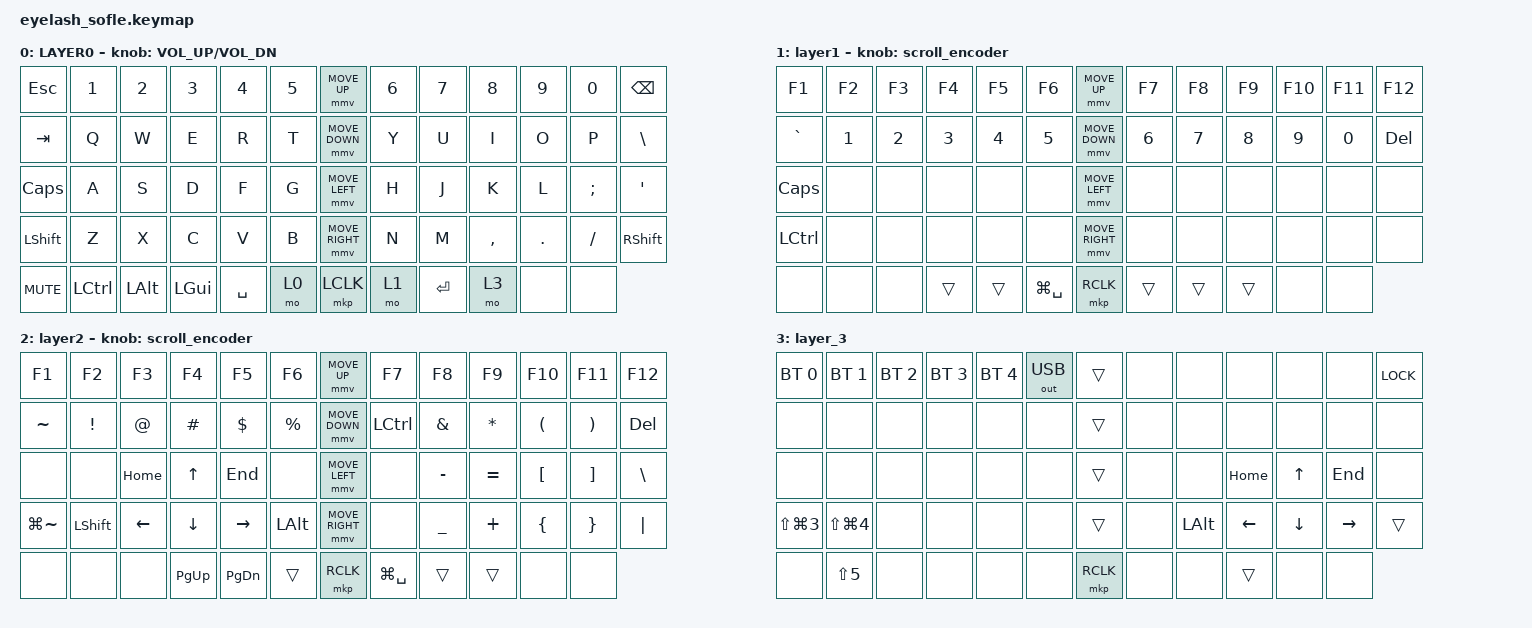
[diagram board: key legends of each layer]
#define ZMK_POINTING_DEFAULT_MOVE_VAL 1200  // 600
#define ZMK_POINTING_DEFAULT_SCRL_VAL 35    // 10

#include <input/processors.dtsi>
#include <zephyr/dt-bindings/input/input-event-codes.h>
#include <behaviors.dtsi>
#include <dt-bindings/zmk/bt.h>
#include <dt-bindings/zmk/keys.h>
#include <dt-bindings/zmk/outputs.h>
#include <dt-bindings/zmk/pointing.h>

/ {
    zip_scroll_scaler: zip_scroll_scaler {
        compatible = "zmk,input-processor-scaler";
        #input-processor-cells = <2>;
        type = <INPUT_EV_REL>;
        codes = <INPUT_REL_WHEEL INPUT_REL_HWHEEL>;
        track-remainders;
    };
};

&mmv_input_listener { input-processors = <&zip_xy_scaler 2 1>; };

&msc_input_listener { input-processors = <&zip_scroll_scaler 2 1>; };

&msc {
    acceleration-exponent = <0>;      // 0
    time-to-max-speed-ms = <0>;       // 300
    delay-ms = <0>;                   // 0
};

&mmv {
    time-to-max-speed-ms = <400>;
    acceleration-exponent = <1>;
};

/ {
    scroll_encoder: scroll_encoder {
        compatible = "zmk,behavior-sensor-rotate";
        #sensor-binding-cells = <0>;
        bindings = <&msc SCRL_DOWN>, <&msc SCRL_UP>;

        tap-ms = <30>;
    };

    behaviors {
    };

    keymap {
        compatible = "zmk,keymap";

        layer0 {
            bindings = <
&kp ESC     &kp N1     &kp N2        &kp N3        &kp N4     &kp N5    &mmv MOVE_UP     &kp N6  &kp N7     &kp N8     &kp N9   &kp N0    &kp BACKSPACE
&kp TAB     &kp Q      &kp W         &kp E         &kp R      &kp T     &mmv MOVE_DOWN   &kp Y   &kp U      &kp I      &kp O    &kp P     &kp BACKSLASH
&kp CAPS    &kp A      &kp S         &kp D         &kp F      &kp G     &mmv MOVE_LEFT   &kp H   &kp J      &kp K      &kp L    &kp SEMI  &kp APOS
&kp LSHFT   &kp Z      &kp X         &kp C         &kp V      &kp B     &mmv MOVE_RIGHT  &kp N   &kp M      &kp COMMA  &kp DOT  &kp FSLH  &kp RIGHT_SHIFT
&kp C_MUTE  &kp LCTRL  &kp LEFT_ALT  &kp LEFT_GUI  &kp SPACE  &mo 0     &mkp LCLK        &mo 1   &kp ENTER  &mo 3      &none    &none
            >;

            sensor-bindings = <&inc_dec_kp C_VOLUME_UP C_VOL_DN>;
            display-name = "LAYER0";
        };

        layer_1 {
            bindings = <
&kp F1            &kp F2        &kp F3        &kp F4        &kp F5        &kp F6           &mmv MOVE_UP     &kp F7        &kp F8  &kp F9  &kp F10  &kp F11  &kp F12
&kp GRAVE         &kp NUMBER_1  &kp NUMBER_2  &kp NUMBER_3  &kp NUMBER_4  &kp N5           &mmv MOVE_DOWN   &kp NUMBER_6  &kp N7  &kp N8  &kp N9   &kp N0   &kp DELETE
&kp CAPSLOCK      &none         &none         &none         &none         &none            &mmv MOVE_LEFT   &none         &none   &none   &none    &none    &none
&kp LEFT_CONTROL  &none         &none         &none         &none         &none            &mmv MOVE_RIGHT  &none         &none   &none   &none    &none    &none
&none             &none         &none         &trans        &trans        &kp LG(SPACE)    &mkp RCLK        &trans        &trans  &trans  &none    &none
            >;

            display-name = "layer1";
            sensor-bindings = <&scroll_encoder>;
        };

        layer_2 {
            display-name = "layer2";
            bindings = <
&kp F1         &kp F2           &kp F3       &kp F4     &kp F5      &kp F6          &mmv MOVE_UP     &kp F7         &kp F8          &kp F9        &kp F10               &kp F11                &kp F12
&kp TILDE      &kp EXCLAMATION  &kp AT_SIGN  &kp HASH   &kp DOLLAR  &kp PERCENT     &mmv MOVE_DOWN   &kp LCTRL      &kp AMPERSAND   &kp ASTERISK  &kp LEFT_PARENTHESIS  &kp RIGHT_PARENTHESIS  &kp DELETE
&none          &none            &kp HOME     &kp UP     &kp END     &none           &mmv MOVE_LEFT   &none          &kp MINUS       &kp EQUAL     &kp LEFT_BRACKET      &kp RIGHT_BRACKET      &kp BACKSLASH
&kp LG(TILDE)  &kp LEFT_SHIFT   &kp LEFT     &kp DOWN   &kp RIGHT   &kp LEFT_ALT    &mmv MOVE_RIGHT  &none          &kp UNDERSCORE  &kp PLUS      &kp LEFT_BRACE        &kp RIGHT_BRACE        &kp PIPE
&none          &none            &none        &kp PG_UP  &kp PG_DN   &trans          &mkp RCLK        &kp LG(SPACE)  &trans          &trans        &none                 &none
            >;

            sensor-bindings = <&scroll_encoder>;
        };

        layer_3 {
            bindings = <
&bt BT_SEL 0          &bt BT_SEL 1          &bt BT_SEL 2  &bt BT_SEL 3  &bt BT_SEL 4  &out OUT_USB    &trans     &none  &none         &none     &none     &none      &kp K_LOCK
&none                 &none                 &none         &none         &none         &none           &trans     &none  &none         &none     &none     &none      &none
&none                 &none                 &none         &none         &none         &none           &trans     &none  &none         &kp HOME  &kp UP    &kp END    &none
&kp LS(LG(NUMBER_3))  &kp LS(LG(NUMBER_4))  &none         &none         &none         &none           &trans     &none  &kp LEFT_ALT  &kp LEFT  &kp DOWN  &kp RIGHT  &trans
&none                 &kp LS(N5)            &none         &none         &none         &none           &mkp RCLK  &none  &none         &trans    &none     &none
            >;
        };
    };
};
